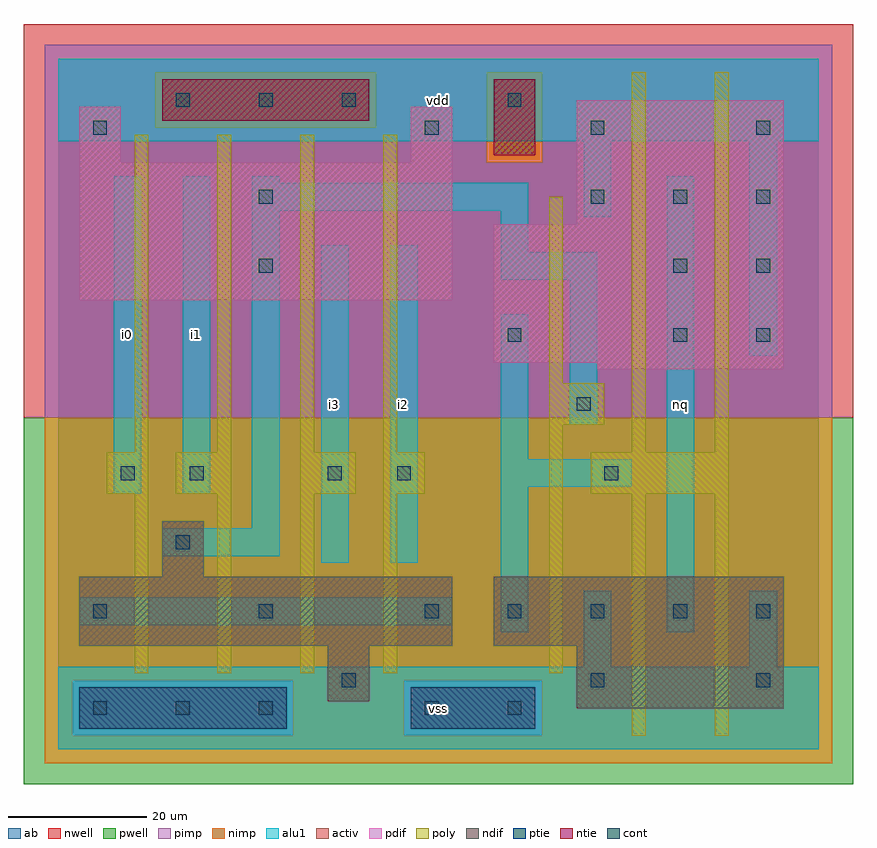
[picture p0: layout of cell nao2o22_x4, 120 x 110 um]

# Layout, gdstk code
import gdstk
lib = gdstk.Library(unit=1e-6, precision=1e-09)
def R(c, l, rs):  # rectangles x0, y0, x1, y1
    for r in rs: c.add(gdstk.rectangle(r[:2], r[2:], *l))
def A(c, l, x, y, w, h, nx, ny, dx, dy):  # array of equal rectangles
    R(c, l, [(x+i*dx, y+j*dy, x+i*dx+w, y+j*dy+h) for i in range(nx) for j in range(ny)])
ndif = (3, 0)
pdif = (4, 0)
ntie = (5, 0)
ptie = (6, 0)
cont = (25, 0)
pwell = (41, 0)
nwell = (42, 0)
activ = (43, 0)
pimp = (44, 0)
nimp = (45, 0)
poly = (46, 0)
alu1 = (49, 0)
ab = (63, 0)

nao2o22_x4 = lib.new_cell('nao2o22_x4')
R(nao2o22_x4, ndif, [(75,6,105,15), (39,7,45,15), (3,15,57,25), (63,15,105,25), (15,25,21,33)])
R(nao2o22_x4, pdif, [(78,55,105,56), (63,56,105,76), (3,65,57,85), (75,76,105,94), (3,85,9,93), (51,85,57,93)])
R(nao2o22_x4, ntie, [(63,86,69,97), (15,91,45,97)])
R(nao2o22_x4, ptie, [(3,3,33,9), (51,3,69,9)])
A(nao2o22_x4, cont, 5, 5, 2, 2, 3, 1, 12, 0)
A(nao2o22_x4, cont, 5, 19, 2, 2, 3, 1, 24, 0)
A(nao2o22_x4, cont, 65, 19, 2, 2, 4, 1, 12, 0)
A(nao2o22_x4, cont, 77, 79, 2, 2, 3, 1, 12, 0)
A(nao2o22_x4, cont, 53, 89, 2, 2, 3, 1, 24, 0)
A(nao2o22_x4, cont, 17, 93, 2, 2, 3, 1, 12, 0)
R(nao2o22_x4, cont, [(53,5,55,7), (65,5,67,7), (41,9,43,11), (77,9,79,11), (101,9,103,11), (17,29,19,31), (9,39,11,41), (19,39,21,41), (39,39,41,41), (49,39,51,41), (79,39,81,41), (75,49,77,51), (65,59,67,61), (89,59,91,61), (101,59,103,61), (29,69,31,71), (89,69,91,71), (101,69,103,71), (29,79,31,81), (5,89,7,91), (65,93,67,95)])
R(nao2o22_x4, pwell, [(-5,-5,115,48)])
R(nao2o22_x4, nwell, [(-5,48,115,105)])
R(nao2o22_x4, activ, [(3,3,33,9), (51,3,69,9), (75,6,105,15), (39,7,45,15), (3,15,57,25), (63,15,105,25), (15,25,21,33), (78,55,105,56), (63,56,105,76), (3,65,57,85), (75,76,105,94), (3,85,9,93), (51,85,57,93), (63,86,69,97), (15,91,45,97)])
R(nao2o22_x4, pimp, [(2,2,34,10), (50,2,70,10), (-2,48,112,85), (-2,85,62,90), (70,85,112,98), (-2,90,14,98), (46,90,62,98), (-2,98,112,102)])
R(nao2o22_x4, nimp, [(-2,-2,112,2), (-2,2,2,10), (34,2,50,10), (70,2,112,10), (-2,10,112,48), (62,85,70,98), (14,90,46,98)])
A(nao2o22_x4, poly, 11, 11, 2, 26, 4, 1, 12, 0)
A(nao2o22_x4, poly, 11, 43, 2, 46, 4, 1, 12, 0)
R(nao2o22_x4, poly, [(83,2,85,37), (95,2,97,37), (71,11,73,47), (7,37,13,43), (17,37,25,43), (35,37,43,43), (47,37,53,43), (77,37,97,43), (83,43,85,98), (95,43,97,98), (71,47,79,53), (71,53,73,80)])
R(nao2o22_x4, alu1, [(0,0,110,12), (76,12,80,23), (100,12,104,23), (64,17,68,38), (88,17,92,83), (3,18,57,22), (38,27,42,73), (48,27,52,73), (15,28,32,32), (28,32,32,78), (8,37,12,83), (18,37,22,83), (64,38,83,42), (64,42,68,63), (74,47,78,68), (100,57,104,88), (64,68,78,72), (64,72,68,78), (76,77,80,88), (28,78,68,82), (28,82,32,83), (0,88,110,100)])
R(nao2o22_x4, ab, [(0,0,110,100)])
nao2o22_x4.add(gdstk.Label('i0', (10,60), layer=49, texttype=0))
nao2o22_x4.add(gdstk.Label('i1', (20,60), layer=49, texttype=0))
nao2o22_x4.add(gdstk.Label('i3', (40,50), layer=49, texttype=0))
nao2o22_x4.add(gdstk.Label('i2', (50,50), layer=49, texttype=0))
nao2o22_x4.add(gdstk.Label('vss', (55,6), layer=49, texttype=0))
nao2o22_x4.add(gdstk.Label('vdd', (55,94), layer=49, texttype=0))
nao2o22_x4.add(gdstk.Label('nq', (90,50), layer=49, texttype=0))

lib.write_gds('nao2o22_x4.gds')
